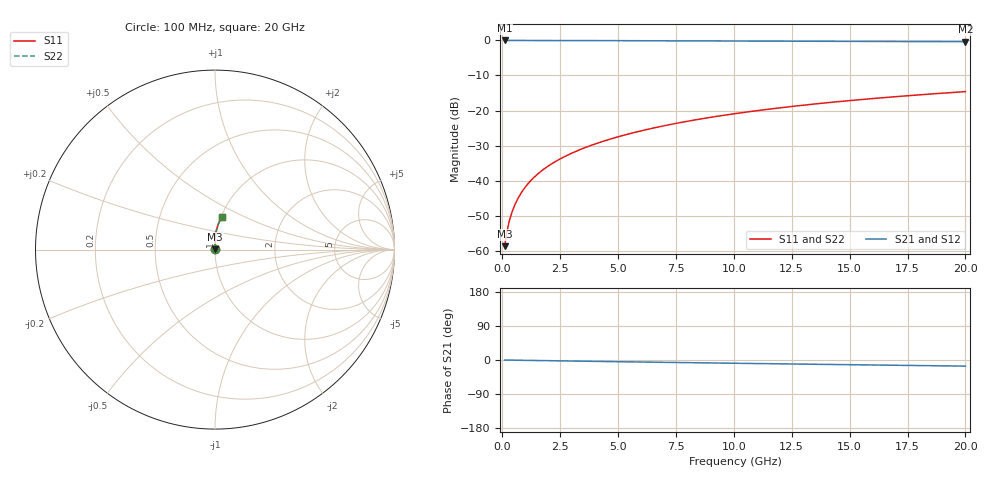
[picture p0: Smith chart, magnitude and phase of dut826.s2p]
! Touchstone file exported from HFSS 2024.1.0
!  File:  C:/UserFiles/LocalFiles/RDL_TSV_Batchsim/temp_RDL_top_826_1779854718.aedt
!  Generated:  12:07:55 PM May 27, 2026
!  Design:  RDL_top
!  Project:  temp_RDL_top_826_1779854718
!  Setup:  Setup1
!  Solution:  Sweep
! Variables:
!  dtsv = 10.80580581um
!  hbump = 3um
!  htsv = 61.1um
!  ldown = 100um
!  lrdl = 186.88um
!  p = 40
!  p1 = 57.87um
!  rhole = 1um
!  t = 450um
!  tdown = 3.915915916um
!  trdl = 4.65um
!  wdown = 15.38538539um
!  wrdl = 23.42um
# GHz S MA R 50.000000
! Terminal data exported
! Port[1] = Box2_T1
! Port[2] = Box2_T2
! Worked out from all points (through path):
!   200 points, 100 MHz to 20 GHz, reference 50 ohm
!   highest |S21| = -0.01 dB at 100 MHz (marker M1); lowest = -0.4 dB at 20 GHz (marker M2)
!   group delay of S21, straight-line fit = 2.22 ps
!   lowest |S11| = -58.7 dB at 100 MHz (marker M3), VSWR 1.00, Z = 50.1 + j0.0866 ohm
!   |S11| at or under -10 dB: start of sweep to end of sweep
!   |S22| runs from -58.7 to -14.6 dB; largest |S21 - S12| = 7.2e-15
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0.1  0.001162 48.1  0.9992 -0.1  0.9992 -0.1  0.001162 48.1
! Gamma 0 0 0 0
! Port Impedance 50 0 50 0
0.2  0.001879 64.2  0.9992 -0.2  0.9992 -0.2  0.001879 64.2
0.3  0.002635 71.3  0.9991 -0.3  0.9991 -0.3  0.002635 71.3
0.4  0.003405 75.3  0.9991 -0.4  0.9991 -0.4  0.003405 75.3
0.5  0.004184 78.0  0.999 -0.5  0.999 -0.5  0.004184 78.0
0.7  0.00576 81.4  0.9989 -0.7  0.9989 -0.7  0.00576 81.4
0.8  0.006555 82.5  0.9988 -0.8  0.9988 -0.8  0.006555 82.5
1  0.008155 84.1  0.9987 -0.9  0.9987 -0.9  0.008155 84.1
1.2  0.009764 85.3  0.9985 -1.1  0.9985 -1.1  0.009764 85.3
1.4  0.01138 86.1  0.9984 -1.3  0.9984 -1.3  0.01138 86.1
1.7  0.01383 87.0  0.998 -1.6  0.998 -1.6  0.01383 87.0
2  0.01629 87.7  0.9977 -1.9  0.9977 -1.9  0.01629 87.7
2.7  0.02211 88.8  0.9967 -2.5  0.9967 -2.5  0.02211 88.8
3.5  0.02893 89.5  0.9952 -3.2  0.9952 -3.2  0.02893 89.5
4.2  0.03504 89.8  0.9938 -3.9  0.9938 -3.9  0.03504 89.8
5  0.0422 89.9  0.9921 -4.5  0.9921 -4.5  0.0422 89.9
6.8  0.05889 89.5  0.988 -6.0  0.988 -6.0  0.05889 89.5
8.4  0.07422 88.7  0.9844 -7.3  0.9844 -7.3  0.07422 88.7
10.1  0.09078 87.4  0.9806 -8.7  0.9806 -8.7  0.09078 87.4
13.4  0.1231 84.6  0.9734 -11.2  0.9734 -11.2  0.1231 84.6
16.7  0.155 81.6  0.9662 -13.7  0.9662 -13.7  0.155 81.6
20  0.1861 78.6  0.9587 -16.2  0.9587 -16.2  0.1861 78.6
